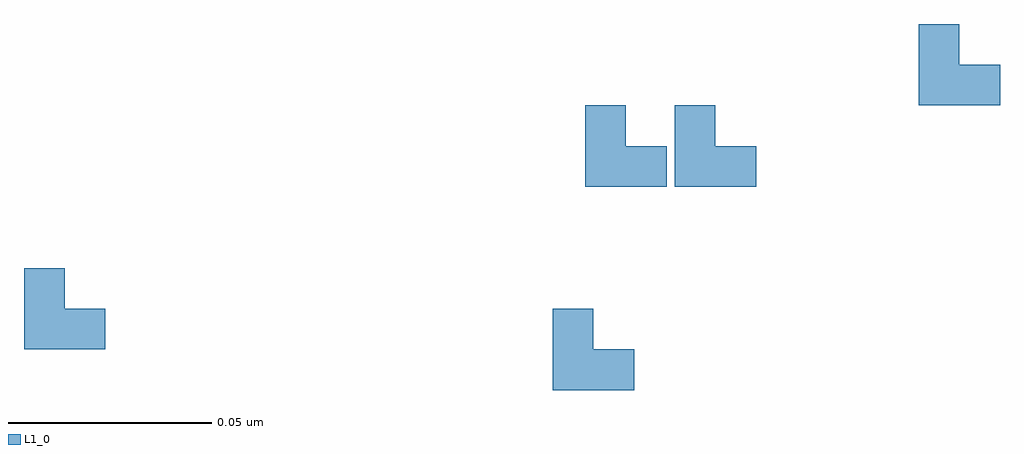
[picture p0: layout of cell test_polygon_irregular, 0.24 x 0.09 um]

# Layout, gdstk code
import gdstk
lib = gdstk.Library(unit=1e-6, precision=1e-09)
def P(c, l, *ps):  # polygons
    for p in ps: c.add(gdstk.Polygon(p, *l))
L1_0 = (1, 0)

test_polygon_irregular = lib.new_cell('test_polygon_irregular')
P(test_polygon_irregular, L1_0, [(0,0),(0,0.02),(0.01,0.02),(0.01,0.01),(0.02,0.01),(0.02,0)],
  [(0,0),(0,0.02),(0.01,0.02),(0.01,0.01),(0.02,0.01),(0.02,0)],
  [(0,0),(0,0.02),(0.01,0.02),(0.01,0.01),(0.02,0.01),(0.02,0)],
  [(-0.13,0.01),(-0.13,0.03),(-0.12,0.03),(-0.12,0.02),(-0.11,0.02),(-0.11,0.01)],
  [(0.008,0.05),(0.008,0.07),(0.018,0.07),(0.018,0.06),(0.028,0.06),(0.028,0.05)],
  [(0.03,0.05),(0.03,0.07),(0.04,0.07),(0.04,0.06),(0.05,0.06),(0.05,0.05)],
  [(0.09,0.07),(0.09,0.09),(0.1,0.09),(0.1,0.08),(0.11,0.08),(0.11,0.07)])

lib.write_gds('test_polygon_irregular.gds')
